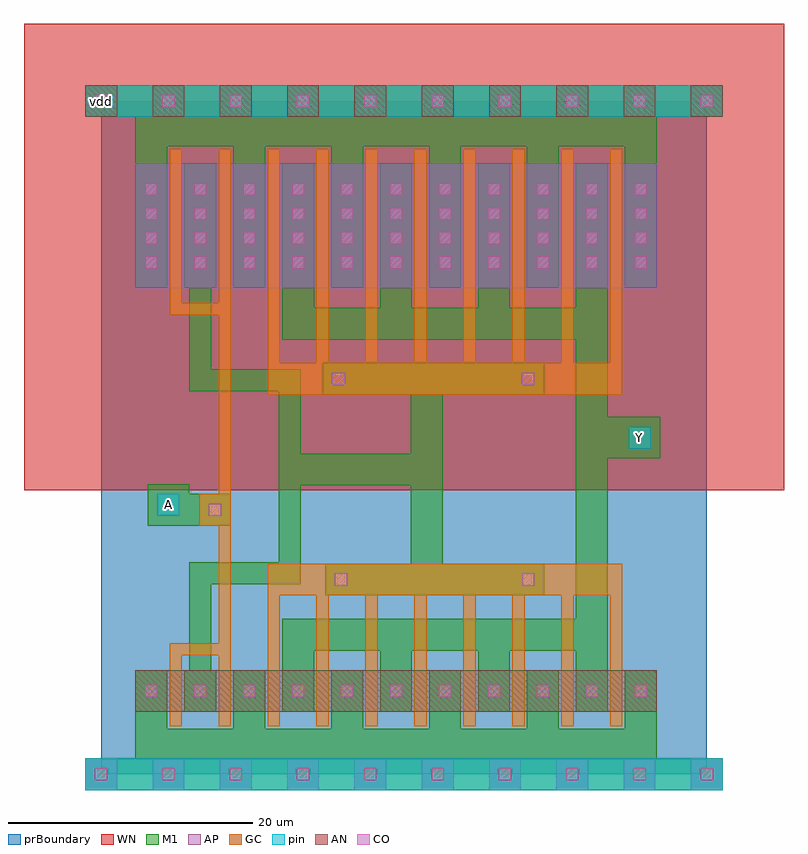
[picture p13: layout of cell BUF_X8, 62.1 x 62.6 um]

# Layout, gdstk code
import gdstk
lib = gdstk.Library(unit=1e-6, precision=1e-09)
def R(c, l, rs):  # rectangles x0, y0, x1, y1
    for r in rs: c.add(gdstk.rectangle(r[:2], r[2:], *l))
def A(c, l, x, y, w, h, nx, ny, dx, dy):  # array of equal rectangles
    R(c, l, [(x+i*dx, y+j*dy, x+i*dx+w, y+j*dy+h) for i in range(nx) for j in range(ny)])
def P(c, l, *ps):  # polygons
    for p in ps: c.add(gdstk.Polygon(p, *l))
AP = (3, 1)
AN = (3, 2)
GC = (8, 1)
CO = (11, 0)
M1 = (13, 0)
pin = (48, 1)
WN = (140, 0)
prBoundary = (235, 0)

buf_x8 = lib.new_cell('BUF_X8')
A(buf_x8, AP, -1.3, -1.3, 2.6, 2.6, 10, 1, 5.5, 0)
R(buf_x8, AP, [(2.8,39.7,45.4,49.9), (2.8,39.7,45.4,49.9)])
A(buf_x8, AN, -1.3, 53.7, 2.6, 2.6, 10, 1, 5.5, 0)
R(buf_x8, AN, [(2.8,5.1,45.4,8.5)])
P(buf_x8, GC, [(13.6,3.9),(13.6,17.2),(42.6,17.2),(42.6,3.9),(41.6,3.9),(41.6,14.6),(38.6,14.6),(38.6,3.9),(37.6,3.9),(37.6,14.6),(34.6,14.6),(34.6,3.9),(33.6,3.9),(33.6,14.6),(30.6,14.6),(30.6,3.9),(29.6,3.9),(29.6,14.6),(26.6,14.6),(26.6,3.9),(25.6,3.9),(25.6,14.6),(22.6,14.6),(22.6,3.9),(21.6,3.9),(21.6,14.6),(18.6,14.6),(18.6,3.9),(17.6,3.9),(17.6,14.6),(14.6,14.6),(14.6,3.9)],
  [(5.6,3.9),(5.6,10.7),(9.6,10.7),(9.6,20.3),(8,20.3),(8,22.9),(9.6,22.9),(9.6,37.5),(5.6,37.5),(5.6,51.1),(6.6,51.1),(6.6,38.5),(9.6,38.5),(9.6,51.1),(10.6,51.1),(10.6,3.9),(9.6,3.9),(9.6,9.7),(6.6,9.7),(6.6,3.9)],
  [(13.6,31),(13.6,51.1),(14.6,51.1),(14.6,33.6),(17.6,33.6),(17.6,51.1),(18.6,51.1),(18.6,33.6),(21.6,33.6),(21.6,51.1),(22.6,51.1),(22.6,33.6),(25.6,33.6),(25.6,51.1),(26.6,51.1),(26.6,33.6),(29.6,33.6),(29.6,51.1),(30.6,51.1),(30.6,33.6),(33.6,33.6),(33.6,51.1),(34.6,51.1),(34.6,33.6),(37.6,33.6),(37.6,51.1),(38.6,51.1),(38.6,33.6),(41.6,33.6),(41.6,51.1),(42.6,51.1),(42.6,31)])
A(buf_x8, CO, -0.5, -0.5, 1, 1, 10, 2, 5.5, 55)
A(buf_x8, CO, 3.6, 6.3, 1, 1, 3, 2, 4, 35)
A(buf_x8, CO, 11.6, 6.3, 1, 1, 9, 2, 4, 35)
A(buf_x8, CO, 3.6, 43.3, 1, 1, 3, 3, 4, 2)
A(buf_x8, CO, 11.6, 43.3, 1, 1, 9, 3, 4, 2)
R(buf_x8, CO, [(19.1,15.4,20.1,16.4), (34.4,15.4,35.4,16.4), (8.8,21.1,9.8,22.1), (18.9,31.8,19.9,32.8), (34.4,31.8,35.4,32.8)])
P(buf_x8, M1, [(-1.3,-1.3),(-1.3,1.3),(2.8,1.3),(2.8,8.5),(5.4,8.5),(5.4,3.7),(10.8,3.7),(10.8,8.5),(13.4,8.5),(13.4,3.7),(18.8,3.7),(18.8,8.5),(21.4,8.5),(21.4,3.7),(26.8,3.7),(26.8,8.5),(29.4,8.5),(29.4,3.7),(34.8,3.7),(34.8,8.5),(37.4,8.5),(37.4,3.7),(42.8,3.7),(42.8,8.5),(45.4,8.5),(45.4,1.3),(50.8,1.3),(50.8,-1.3)],
  [(3.8,20.3),(3.8,23.7),(7.2,23.7),(7.2,22.9),(10.6,22.9),(10.6,20.3)],
  [(6.8,5.1),(6.8,8.5),(7.2,8.5),(7.2,17.3),(14.5,17.3),(14.5,31.3),(7.2,31.3),(7.2,39.7),(6.8,39.7),(6.8,49.9),(9.4,49.9),(9.4,39.7),(9,39.7),(9,33.1),(16.3,33.1),(16.3,26.2),(25.3,26.2),(25.3,31),(18.1,31),(18.1,33.6),(36.2,33.6),(36.2,31),(27.9,31),(27.9,17.2),(36.2,17.2),(36.2,14.6),(18.3,14.6),(18.3,17.2),(25.3,17.2),(25.3,23.6),(16.3,23.6),(16.3,15.5),(9,15.5),(9,8.5),(9.4,8.5),(9.4,5.1)],
  [(14.8,5.1),(14.8,12.7),(38.8,12.7),(38.8,35.5),(14.8,35.5),(14.8,49.9),(17.4,49.9),(17.4,38.1),(22.8,38.1),(22.8,49.9),(25.4,49.9),(25.4,38.1),(30.8,38.1),(30.8,49.9),(33.4,49.9),(33.4,38.1),(38.8,38.1),(38.8,49.9),(41.4,49.9),(41.4,29.2),(45.7,29.2),(45.7,25.8),(41.4,25.8),(41.4,5.1),(38.8,5.1),(38.8,10.1),(33.4,10.1),(33.4,5.1),(30.8,5.1),(30.8,10.1),(25.4,10.1),(25.4,5.1),(22.8,5.1),(22.8,10.1),(17.4,10.1),(17.4,5.1)],
  [(2.8,39.7),(2.8,53.7),(-1.3,53.7),(-1.3,56.3),(50.8,56.3),(50.8,53.7),(45.4,53.7),(45.4,39.7),(42.8,39.7),(42.8,51.3),(37.4,51.3),(37.4,39.7),(34.8,39.7),(34.8,51.3),(29.4,51.3),(29.4,39.7),(26.8,39.7),(26.8,51.3),(21.4,51.3),(21.4,39.7),(18.8,39.7),(18.8,51.3),(13.4,51.3),(13.4,39.7),(10.8,39.7),(10.8,51.3),(5.4,51.3),(5.4,39.7)])
R(buf_x8, pin, [(-1.3,-1.3,50.8,1.3), (4.6,21.1,6.4,22.9), (43.1,26.6,44.9,28.4), (-1.3,53.7,50.8,56.3)])
R(buf_x8, WN, [(-6.3,23.2,55.8,61.3)])
R(buf_x8, prBoundary, [(0,0,49.5,55)])
buf_x8.add(gdstk.Label('Y', (44,27.5), layer=48, texttype=0))
buf_x8.add(gdstk.Label('A', (5.5,22), layer=48, texttype=0))
buf_x8.add(gdstk.Label('vdd', (0,55), layer=48, texttype=0))
buf_x8.add(gdstk.Label('vdd', (0,55), layer=48, texttype=0))

lib.write_gds('BUF_X8.gds')
